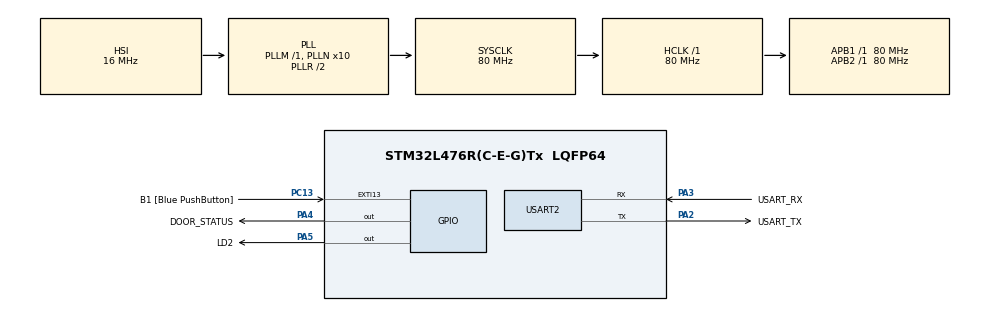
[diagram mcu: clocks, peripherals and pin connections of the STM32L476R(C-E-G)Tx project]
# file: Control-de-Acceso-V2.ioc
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Mcu.Family=STM32L4
Mcu.Name=STM32L476R(C-E-G)Tx
Mcu.Package=LQFP64
NVIC.EXTI15_10_IRQn=true\:0\:0\:false\:false\:true\:true\:true\:true
NVIC.PriorityGroup=NVIC_PRIORITYGROUP_4
NVIC.USART2_IRQn=true\:0\:0\:false\:false\:true\:true\:true\:true
PA13\ (JTMS-SWDIO).GPIO_Label=TMS
PA13\ (JTMS-SWDIO).Mode=Serial_Wire
PA13\ (JTMS-SWDIO).Signal=SYS_JTMS-SWDIO
PA14\ (JTCK-SWCLK).GPIO_Label=TCK
PA14\ (JTCK-SWCLK).Mode=Serial_Wire
PA14\ (JTCK-SWCLK).Signal=SYS_JTCK-SWCLK
PA2.GPIO_Label=USART_TX
PA2.GPIO_Mode=GPIO_MODE_AF_PP
PA2.GPIO_PuPd=GPIO_NOPULL
PA2.GPIO_Speed=GPIO_SPEED_FREQ_VERY_HIGH
PA2.Mode=Asynchronous
PA2.Signal=USART2_TX
PA3.GPIO_Label=USART_RX
PA3.GPIO_Mode=GPIO_MODE_AF_PP
PA3.GPIO_PuPd=GPIO_NOPULL
PA3.GPIO_Speed=GPIO_SPEED_FREQ_VERY_HIGH
PA3.Mode=Asynchronous
PA3.Signal=USART2_RX
PA4.GPIO_Label=DOOR_STATUS
PA4.Signal=GPIO_Output
PA5.GPIO_Label=LD2
PA5.Signal=GPIO_Output
PB3\ (JTDO-TRACESWO).GPIO_Label=SWO
PB3\ (JTDO-TRACESWO).Signal=SYS_JTDO-SWO
PC13.GPIO_Label=B1 [Blue PushButton]
PC13.GPIO_ModeDefaultEXTI=GPIO_MODE_IT_FALLING
PC13.GPIO_PuPd=GPIO_NOPULL
PC13.Signal=GPXTI13
PC14-OSC32_IN\ (PC14).Mode=LSE-External-Oscillator
PC14-OSC32_IN\ (PC14).Signal=RCC_OSC32_IN
PC15-OSC32_OUT\ (PC15).Mode=LSE-External-Oscillator
PC15-OSC32_OUT\ (PC15).Signal=RCC_OSC32_OUT
PH0-OSC_IN\ (PH0).Signal=RCC_OSC_IN
PH1-OSC_OUT\ (PH1).Signal=RCC_OSC_OUT
ProjectManager.HeapSize=0x200
ProjectManager.StackSize=0x400
ProjectManager.TargetToolchain=CMake
RCC.ADCFreq_Value=64000000
RCC.AHBFreq_Value=80000000
RCC.APB1Freq_Value=80000000
RCC.APB1TimFreq_Value=80000000
RCC.APB2Freq_Value=80000000
RCC.APB2TimFreq_Value=80000000
RCC.CortexFreq_Value=80000000
RCC.HCLKFreq_Value=80000000
RCC.HSE_VALUE=8000000
RCC.HSI_VALUE=16000000
RCC.MSI_VALUE=4000000
RCC.PLLN=10
RCC.PLLSourceVirtual=RCC_PLLSOURCE_HSI
RCC.PREFETCH_ENABLE=1
RCC.SYSCLKFreq_VALUE=80000000
RCC.SYSCLKSource=RCC_SYSCLKSOURCE_PLLCLK
RCC.USBFreq_Value=64000000
RCC.VCOOutputFreq_Value=160000000
USART2.VirtualMode-Asynchronous=VM_ASYNC
board=NUCLEO-L476RG

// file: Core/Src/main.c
/* USER CODE BEGIN Header */
/**
  ******************************************************************************
  * @file           : main.c
  * @brief          : Main program body
  ******************************************************************************
  * @attention
  *
  * Copyright (c) 2025 STMicroelectronics.
  * All rights reserved.
  *
  * This software is licensed under terms that can be found in the LICENSE file
  * in the root directory of this software component.
  * If no LICENSE file comes with this software, it is provided AS-IS.
  *
  ******************************************************************************
  */
/* USER CODE END Header */
#include "main.h"

/* USER CODE BEGIN Includes */
#include "button.h"
/* USER CODE END Includes */

UART_HandleTypeDef huart2;

/* USER CODE BEGIN PV */
uint8_t rx_byte = 0;
uint8_t b1_byte = 0;
/* USER CODE END PV */

void SystemClock_Config(void);
static void MX_GPIO_Init(void);
static void MX_USART2_UART_Init(void);

/* USER CODE BEGIN 0 */
void HAL_UART_RxCpltCallback(UART_HandleTypeDef *huart)
{
    if (huart->Instance == USART2) {
        HAL_UART_Receive_IT(&huart2, &rx_byte, 1);
    }
}

void HAL_GPIO_EXTI_Callback(uint16_t GPIO_Pin)
{
    if (GPIO_Pin == B1_Pin) {
        b1_byte = detect_button_press();
    }
}

void heartbeat_handler(void)
{
  static uint32_t heartbeat_tick = 0;
  if (HAL_GetTick() - heartbeat_tick >= 500) {
    heartbeat_tick = HAL_GetTick();
    HAL_GPIO_TogglePin(LD2_GPIO_Port, LD2_Pin);
  }
}
/* USER CODE END 0 */

int main(void)
{

  /* MCU Configuration--------------------------------------------------------*/

  /* Reset of all peripherals, Initializes the Flash interface and the Systick. */
  HAL_Init();

  /* Configure the system clock */
  SystemClock_Config();

  /* Initialize all configured peripherals */
  MX_GPIO_Init();
  MX_USART2_UART_Init();

  /* Infinite loop */
  /* USER CODE BEGIN WHILE */
  HAL_UART_Receive_IT(&huart2, &rx_byte, 1);
  HAL_UART_Transmit(&huart2, (uint8_t *)"Hello, World!\r\n", 15, 1000);
  while (1) {
    if (b1_byte != 0) {
      if (b1_byte == 1) {
        HAL_UART_Transmit(&huart2, "1\r\n", 3, 10); // echo received byte
      } else if (b1_byte == 2) {
        HAL_UART_Transmit(&huart2, "2\r\n", 3, 10); // echo received byte
      }
      b1_byte = 0;
    }
    if (rx_byte != 0) {
        HAL_UART_Transmit(&huart2, &rx_byte, 1, 10); // echo received byte
        rx_byte = 0;
    }
    /* USER CODE END WHILE */

  }
}

void SystemClock_Config(void)
{
  RCC_OscInitTypeDef RCC_OscInitStruct = {0};
  RCC_ClkInitTypeDef RCC_ClkInitStruct = {0};

  /** Configure the main internal regulator output voltage
  */
  if (HAL_PWREx_ControlVoltageScaling(PWR_REGULATOR_VOLTAGE_SCALE1) != HAL_OK)
  {
    Error_Handler();
  }

  /** Initializes the RCC Oscillators according to the specified parameters
  * in the RCC_OscInitTypeDef structure.
  */
  RCC_OscInitStruct.OscillatorType = RCC_OSCILLATORTYPE_HSI;
  RCC_OscInitStruct.HSIState = RCC_HSI_ON;
  RCC_OscInitStruct.HSICalibrationValue = RCC_HSICALIBRATION_DEFAULT;
  RCC_OscInitStruct.PLL.PLLState = RCC_PLL_ON;
  RCC_OscInitStruct.PLL.PLLSource = RCC_PLLSOURCE_HSI;
  RCC_OscInitStruct.PLL.PLLM = 1;
  RCC_OscInitStruct.PLL.PLLN = 10;
  RCC_OscInitStruct.PLL.PLLP = RCC_PLLP_DIV7;
  RCC_OscInitStruct.PLL.PLLQ = RCC_PLLQ_DIV2;
  RCC_OscInitStruct.PLL.PLLR = RCC_PLLR_DIV2;
  if (HAL_RCC_OscConfig(&RCC_OscInitStruct) != HAL_OK)
  {
    Error_Handler();
  }

  /** Initializes the CPU, AHB and APB buses clocks
  */
  RCC_ClkInitStruct.ClockType = RCC_CLOCKTYPE_HCLK|RCC_CLOCKTYPE_SYSCLK
                              |RCC_CLOCKTYPE_PCLK1|RCC_CLOCKTYPE_PCLK2;
  RCC_ClkInitStruct.SYSCLKSource = RCC_SYSCLKSOURCE_PLLCLK;
  RCC_ClkInitStruct.AHBCLKDivider = RCC_SYSCLK_DIV1;
  RCC_ClkInitStruct.APB1CLKDivider = RCC_HCLK_DIV1;
  RCC_ClkInitStruct.APB2CLKDivider = RCC_HCLK_DIV1;

  if (HAL_RCC_ClockConfig(&RCC_ClkInitStruct, FLASH_LATENCY_4) != HAL_OK)
  {
    Error_Handler();
  }
}

static void MX_USART2_UART_Init(void)
{

  huart2.Instance = USART2;
  huart2.Init.BaudRate = 115200;
  huart2.Init.WordLength = UART_WORDLENGTH_8B;
  huart2.Init.StopBits = UART_STOPBITS_1;
  huart2.Init.Parity = UART_PARITY_NONE;
  huart2.Init.Mode = UART_MODE_TX_RX;
  huart2.Init.HwFlowCtl = UART_HWCONTROL_NONE;
  huart2.Init.OverSampling = UART_OVERSAMPLING_16;
  huart2.Init.OneBitSampling = UART_ONE_BIT_SAMPLE_DISABLE;
  huart2.AdvancedInit.AdvFeatureInit = UART_ADVFEATURE_NO_INIT;
  if (HAL_UART_Init(&huart2) != HAL_OK)
  {
    Error_Handler();
  }

}

static void MX_GPIO_Init(void)
{
  GPIO_InitTypeDef GPIO_InitStruct = {0};

  /* GPIO Ports Clock Enable */
  __HAL_RCC_GPIOC_CLK_ENABLE();
  __HAL_RCC_GPIOH_CLK_ENABLE();
  __HAL_RCC_GPIOA_CLK_ENABLE();
  __HAL_RCC_GPIOB_CLK_ENABLE();

  /*Configure GPIO pin Output Level */
  HAL_GPIO_WritePin(GPIOA, DOOR_STATUS_Pin|LD2_Pin, GPIO_PIN_RESET);

  /*Configure GPIO pin : B1_Pin */
  GPIO_InitStruct.Pin = B1_Pin;
  GPIO_InitStruct.Mode = GPIO_MODE_IT_FALLING;
  GPIO_InitStruct.Pull = GPIO_NOPULL;
  HAL_GPIO_Init(B1_GPIO_Port, &GPIO_InitStruct);

  /*Configure GPIO pins : DOOR_STATUS_Pin LD2_Pin */
  GPIO_InitStruct.Pin = DOOR_STATUS_Pin|LD2_Pin;
  GPIO_InitStruct.Mode = GPIO_MODE_OUTPUT_PP;
  GPIO_InitStruct.Pull = GPIO_NOPULL;
  GPIO_InitStruct.Speed = GPIO_SPEED_FREQ_LOW;
  HAL_GPIO_Init(GPIOA, &GPIO_InitStruct);

  /* EXTI interrupt init*/
  HAL_NVIC_SetPriority(EXTI15_10_IRQn, 0, 0);
  HAL_NVIC_EnableIRQ(EXTI15_10_IRQn);

}

void Error_Handler(void)
{
  __disable_irq();
  while (1)
  {
  }
}
